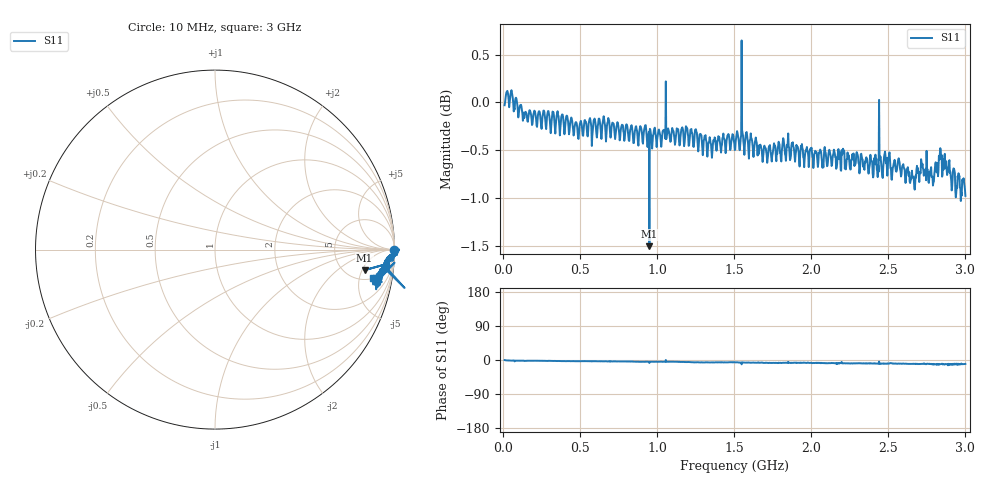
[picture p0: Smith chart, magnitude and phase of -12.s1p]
# HZ S RI R 50
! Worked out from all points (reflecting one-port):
!   1010 points, 10 MHz to 3 GHz, reference 50 ohm
!   lowest |S11| = -1.5 dB at 949.4 MHz (marker M1), VSWR 11.59, Z = 357 - j280 ohm
!   phase of S11 starts at -0 deg and turns -10 deg over the sweep
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1e7  0.9967 -0.00343
9.000991e7  1 -0.0323
3.863429e8  0.9842 -0.0514
7.597225e8  0.9565 -0.0612
9.315956e8  0.9573 -0.0753
9.34559e8  0.951 -0.0707
9.493756e8  0.8333 -0.1146
9.641923e8  0.9512 -0.0757
9.671556e8  0.943 -0.076
1.056055e9  1.026 0.000459
1.133102e9  0.9638 -0.0788
1.290159e9  0.9477 -0.1063
1.506482e9  0.9389 -0.1052
1.550932e9  0.9615 -0.1081
1.565748e9  0.9324 -0.1116
1.699098e9  0.9383 -0.1264
1.879861e9  0.9451 -0.1243
2.196938e9  0.9403 -0.0858
2.253241e9  0.9102 -0.1498
2.425114e9  0.9099 -0.1525
2.460674e9  0.9026 -0.1531
2.522904e9  0.9005 -0.1387
2.62662e9  0.9109 -0.1615
2.727374e9  0.909 -0.1543
2.78664e9  0.8978 -0.1719
2.842943e9  0.9176 -0.1734
2.90221e9  0.9053 -0.1646
3e9  0.8791 -0.1605
